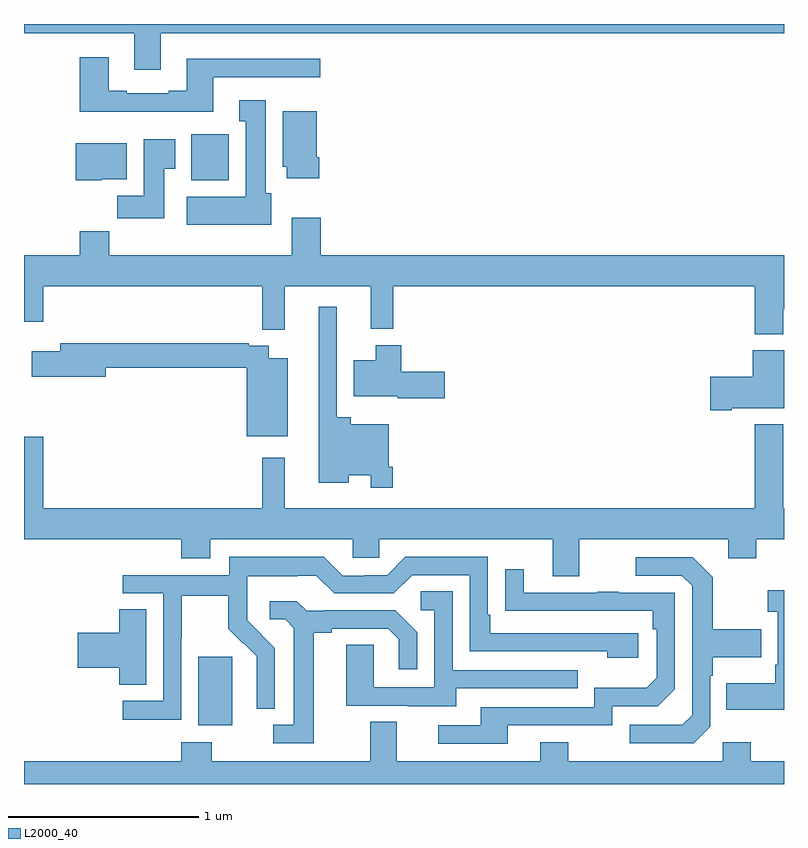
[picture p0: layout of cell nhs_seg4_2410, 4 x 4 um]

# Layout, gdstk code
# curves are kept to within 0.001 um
import gdstk
lib = gdstk.Library(unit=1e-6, precision=1e-09)
def R(c, l, rs):  # rectangles x0, y0, x1, y1
    for r in rs: c.add(gdstk.rectangle(r[:2], r[2:], *l))
def P(c, l, *ps):  # polygons
    for p in ps: c.add(gdstk.Polygon(p, *l))
L2000_40 = (2000, 40)

nhs_seg4_2410 = lib.new_cell('nhs_seg4_2410')
R(nhs_seg4_2410, L2000_40, [(237.917,761.21,238.096,761.571), (237.881,764.078,238.078,764.32)])
P(nhs_seg4_2410, L2000_40, [(237.721,764.852),(241,764.852),(241,764.9),(237,764.9),(237,764.852),(237.581,764.852),(237.581,764.658),(237.721,764.658)],
  [(237.997,764.619),(238.558,764.619),(238.558,764.716),(237.857,764.716),(237.857,764.548),(237.761,764.548),(237.761,764.535),(237.541,764.535),(237.541,764.548),(237.445,764.548),(237.445,764.725),(237.293,764.725),(237.293,764.438),(237.997,764.438)],
  [(238.3,764.01),(238.273,764.01),(238.273,764.5),(238.133,764.5),(238.133,764.387),(238.166,764.387),(238.166,763.99),(237.857,763.99),(237.857,763.844),(238.3,763.844)],
  [(238.553,764.2),(238.54,764.2),(238.54,764.44),(238.361,764.44),(238.361,764.148),(238.382,764.148),(238.382,764.088),(238.553,764.088)],
  [(237.739,764.137),(237.796,764.137),(237.796,764.293),(237.629,764.293),(237.629,763.996),(237.49,763.996),(237.49,763.878),(237.739,763.878)],
  [(237.408,764.084),(237.541,764.084),(237.541,764.272),(237.272,764.272),(237.272,764.078),(237.408,764.078)],
  [(240.997,763.4),(241,763.4),(241,763.684),(238.562,763.684),(238.562,763.879),(238.409,763.879),(238.409,763.684),(237.449,763.684),(237.449,763.808),(237.293,763.808),(237.293,763.684),(237,763.684),(237,763.332),(237.1,763.332),(237.1,763.52),(238.255,763.52),(238.255,763.291),(238.373,763.291),(238.373,763.52),(238.826,763.52),(238.826,763.295),(238.943,763.295),(238.943,763.52),(240.845,763.52),(240.845,763.268),(240.997,763.268)],
  [(238.94,762.571),(238.92,762.571),(238.92,762.793),(238.721,762.793),(238.721,762.829),(238.647,762.829),(238.647,763.411),(238.55,763.411),(238.55,762.485),(238.708,762.485),(238.708,762.524),(238.824,762.524),(238.824,762.459),(238.94,762.459)],
  [(238.387,763.141),(238.288,763.141),(238.288,763.206),(238.184,763.206),(238.184,763.219),(237.191,763.219),(237.191,763.177),(237.042,763.177),(237.042,763.043),(237.43,763.043),(237.43,763.09),(238.172,763.09),(238.172,762.731),(238.387,762.731)],
  [(239.215,763.071),(238.985,763.071),(238.985,763.21),(238.85,763.21),(238.85,763.129),(238.736,763.129),(238.736,762.941),(238.968,762.941),(238.968,762.929),(239.215,762.929)],
  [(240.724,762.878),(241,762.878),(241,763.183),(240.836,763.183),(240.836,763.044),(240.612,763.044),(240.612,762.866),(240.724,762.866)],
  [(240.845,762.793),(240.845,762.352),(238.372,762.352),(238.372,762.616),(238.255,762.616),(238.255,762.352),(237.1,762.352),(237.1,762.727),(237,762.727),(237,762.188),(237.827,762.188),(237.827,762.089),(237.979,762.089),(237.979,762.188),(238.731,762.188),(238.731,762.09),(238.869,762.09),(238.869,762.188),(239.783,762.188),(239.783,761.994),(239.923,761.994),(239.923,762.188),(240.707,762.188),(240.707,762.089),(240.855,762.089),(240.855,762.188),(241,762.188),(241,762.352),(240.997,762.352),(240.997,762.793)],
  [(237.828,761.668),(237.831,761.668),(237.831,761.892),(238.075,761.892),(238.075,761.717),(238.152,761.64),(238.155,761.643),(238.226,761.573),(238.226,761.45),(238.224,761.45),(238.224,761.296),(238.32,761.296),(238.32,761.614),(238.174,761.762),(238.174,761.859),(238.176,761.859),(238.176,761.993),(238.439,761.993),(238.439,761.997),(238.539,761.997),(238.632,761.904),(238.947,761.904),(239.043,762),(239.346,762),(239.346,761.598),(240.071,761.598),(240.071,761.564),(240.232,761.564),(240.232,761.694),(239.455,761.694),(239.455,761.791),(239.442,761.791),(239.442,762.096),(239.007,762.096),(238.911,762),(238.793,762),(238.793,761.997),(238.677,761.997),(238.577,762.097),(238.08,762.097),(238.08,762),(237.519,762),(237.519,761.904),(237.732,761.904),(237.732,761.337),(237.519,761.337),(237.519,761.239),(237.828,761.239)],
  [(240.612,761.202),(240.612,761.471),(240.625,761.471),(240.625,761.567),(240.881,761.567),(240.881,761.715),(240.625,761.715),(240.625,761.987),(240.519,762.093),(240.219,762.093),(240.219,761.997),(240.462,761.997),(240.516,761.943),(240.516,761.262),(240.465,761.211),(240.189,761.211),(240.189,761.115),(240.525,761.115)],
  [(239.545,761.208),(240.096,761.208),(240.096,761.31),(240.336,761.31),(240.426,761.4),(240.426,761.907),(240.131,761.907),(240.131,761.912),(240.019,761.912),(240.019,761.907),(239.629,761.907),(239.629,762.031),(239.533,762.031),(239.533,761.812),(240.31,761.811),(240.31,761.714),(240.33,761.714),(240.33,761.46),(240.277,761.407),(240,761.407),(240,761.304),(239.405,761.304),(239.405,761.208),(239.181,761.208),(239.181,761.112),(239.545,761.112)],
  [(241,761.92),(240.915,761.92),(240.915,761.807),(240.966,761.807),(240.966,761.527),(240.954,761.527),(240.954,761.431),(240.697,761.431),(240.697,761.291),(241,761.291)],
  [(239.275,761.403),(239.915,761.403),(239.915,761.499),(239.256,761.499),(239.256,761.915),(239.088,761.915),(239.088,761.814),(239.16,761.814),(239.16,761.409),(238.842,761.409),(238.842,761.633),(238.697,761.633),(238.697,761.313),(239.021,761.313),(239.021,761.309),(239.275,761.309)],
  [(238.525,761.696),(238.621,761.696),(238.621,761.718),(238.916,761.718),(238.973,761.661),(238.973,761.505),(239.07,761.505),(239.07,761.698),(238.954,761.814),(238.582,761.814),(238.582,761.811),(238.488,761.811),(238.436,761.863),(238.293,761.863),(238.293,761.766),(238.374,761.766),(238.421,761.719),(238.421,761.211),(238.311,761.211),(238.311,761.115),(238.525,761.115)],
  [(237.643,761.819),(237.5,761.819),(237.5,761.696),(237.282,761.696),(237.282,761.513),(237.5,761.513),(237.5,761.422),(237.643,761.422)],
  [(241,761.02),(240.825,761.02),(240.825,761.119),(240.678,761.119),(240.678,761.02),(239.865,761.02),(239.865,761.119),(239.717,761.119),(239.717,761.02),(238.963,761.02),(238.963,761.228),(238.823,761.228),(238.823,761.02),(237.987,761.02),(237.987,761.119),(237.827,761.119),(237.827,761.02),(237,761.02),(237,760.9),(241,760.9)])

lib.write_gds('nhs_seg4_2410.gds')
